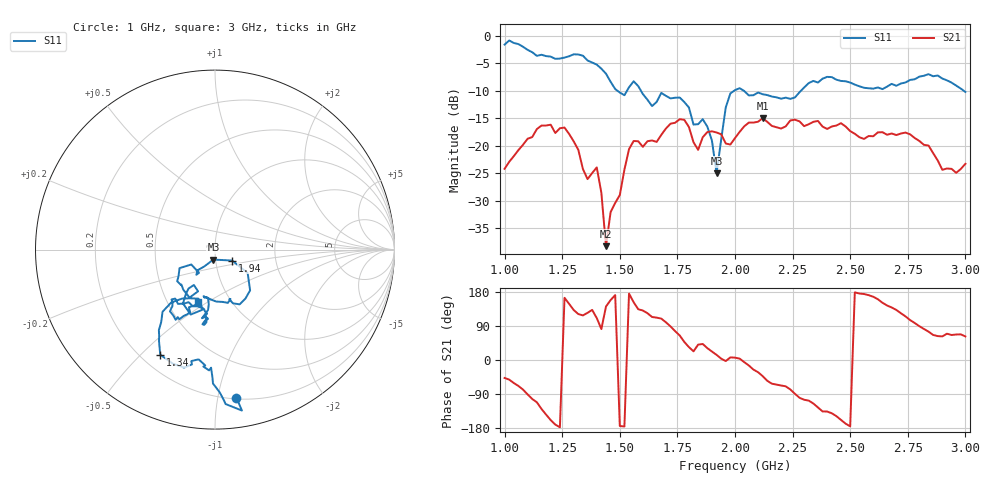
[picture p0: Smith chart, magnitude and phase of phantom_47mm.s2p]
# HZ S RI R 50
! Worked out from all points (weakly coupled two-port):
!   101 points, 1 GHz to 3 GHz, reference 50 ohm
!   highest |S21| = -14.98 dB at 2.12 GHz (marker M1); lowest = -38.3 dB at 1.44 GHz (marker M2)
!   lowest |S11| = -25.0 dB at 1.92 GHz (marker M3), VSWR 1.12, Z = 48.8 - j5.44 ohm
!   |S11| at or under -10 dB: 1.49 GHz to 1.531 GHz (40.75 MHz wide, 2.7 % of centre); 1.592 GHz to 1.996 GHz (403.8 MHz wide, 22.5 % of centre); 2.039 GHz to 2.286 GHz (247.3 MHz wide, 11.4 % of centre) (the widest 3 of 4)
!   S12 and S22 are empty: the file has one direction only
!   S11 on the Smith chart (normalised r, x): 1 GHz: 0.21, -1.13; 1.34 GHz: 0.28, -0.57; 1.94 GHz: 1.20, -0.15; 3 GHz: 0.71, -0.46
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1e9  0.1194 -0.8248  0.0417 -0.0454  0 0  0 0
1.2e9  -0.0541 -0.6454  -0.1448 -0.0568  0 0  0 0
1.26e9  -0.1318 -0.6211  -0.1408 0.0401  0 0  0 0
1.34e9  -0.305 -0.5855  -0.0285 0.0543  0 0  0 0
1.4e9  -0.3128 -0.4493  -0.0224 0.0594  0 0  0 0
1.44e9  -0.2922 -0.3463  -0.00948 0.00766  0 0  0 0
1.46e9  -0.244 -0.2947  -0.0231 0.00927  0 0  0 0
1.54e9  -0.0679 -0.3341  -0.0929 0.00769  0 0  0 0
1.64e9  -0.1179 -0.1971  -0.0446 0.1025  0 0  0 0
1.68e9  -0.1417 -0.2675  -0.0414 0.1186  0 0  0 0
1.76e9  -0.2107 -0.1763  0.0745 0.1579  0 0  0 0
1.84e9  -0.089 -0.1296  0.0697 0.0597  0 0  0 0
1.86e9  -0.104 -0.1403  0.0885 0.0805  0 0  0 0
1.92e9  -0.00893 -0.0556  0.1284 0.031  0 0  0 0
1.94e9  0.0958 -0.0611  0.127 0.00778  0 0  0 0
1.96e9  0.182 -0.1305  0.1047 -0.00502  0 0  0 0
2e9  0.1703 -0.2719  0.1168 0.0128  0 0  0 0
2.12e9  0.0425 -0.2915  0.1315 -0.1204  0 0  0 0
2.34e9  -0.0728 -0.3825  -0.0692 -0.1498  0 0  0 0
2.68e9  -0.2057 -0.3028  -0.097 0.0855  0 0  0 0
2.9e9  -0.1746 -0.3698  0.0281 0.0535  0 0  0 0
3e9  -0.0935 -0.2947  0.032 0.0606  0 0  0 0
